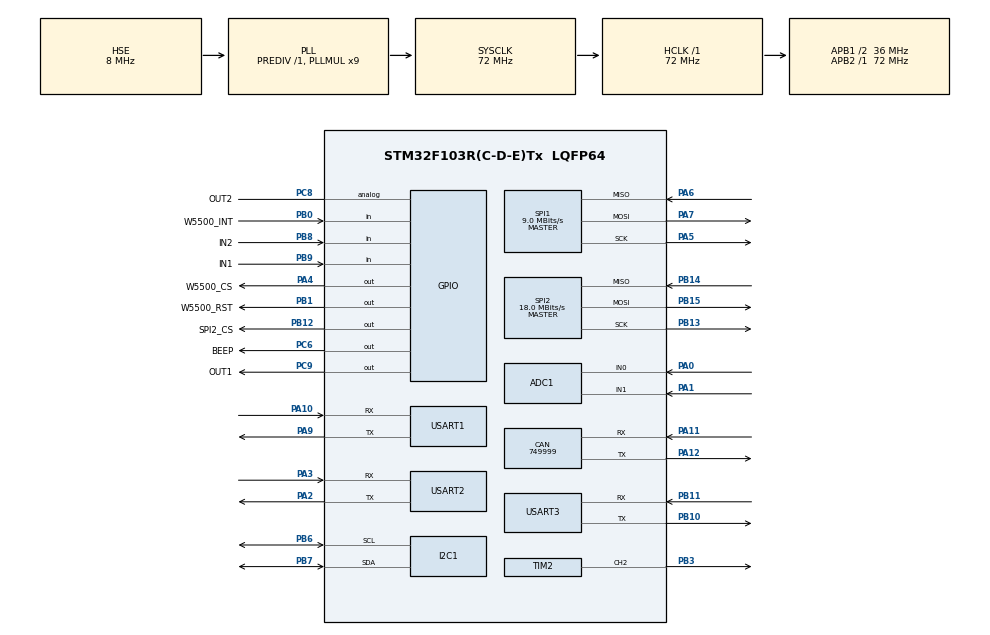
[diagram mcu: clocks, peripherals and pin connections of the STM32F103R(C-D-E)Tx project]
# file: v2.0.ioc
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ADC1.Channel-0\#ChannelRegularConversion=ADC_CHANNEL_0
ADC1.NbrOfConversionFlag=1
ADC1.Rank-0\#ChannelRegularConversion=1
ADC1.SamplingTime-0\#ChannelRegularConversion=ADC_SAMPLETIME_1CYCLE_5
ADC1.master=1
CAN.CalculateBaudRate=749999
CAN.CalculateTimeBit=1333
CAN.CalculateTimeQuantum=444.44444444444446
Dma.Request0=USART1_RX
Dma.Request1=USART2_RX
Dma.Request2=USART3_RX
Dma.USART1_RX.0.Direction=DMA_PERIPH_TO_MEMORY
Dma.USART1_RX.0.Instance=DMA1_Channel5
Dma.USART1_RX.0.MemDataAlignment=DMA_MDATAALIGN_BYTE
Dma.USART1_RX.0.MemInc=DMA_MINC_ENABLE
Dma.USART1_RX.0.Mode=DMA_NORMAL
Dma.USART1_RX.0.PeriphDataAlignment=DMA_PDATAALIGN_BYTE
Dma.USART1_RX.0.PeriphInc=DMA_PINC_DISABLE
Dma.USART1_RX.0.Priority=DMA_PRIORITY_LOW
Dma.USART2_RX.1.Direction=DMA_PERIPH_TO_MEMORY
Dma.USART2_RX.1.Instance=DMA1_Channel6
Dma.USART2_RX.1.MemDataAlignment=DMA_MDATAALIGN_BYTE
Dma.USART2_RX.1.MemInc=DMA_MINC_ENABLE
Dma.USART2_RX.1.Mode=DMA_NORMAL
Dma.USART2_RX.1.PeriphDataAlignment=DMA_PDATAALIGN_BYTE
Dma.USART2_RX.1.PeriphInc=DMA_PINC_DISABLE
Dma.USART2_RX.1.Priority=DMA_PRIORITY_LOW
Dma.USART3_RX.2.Direction=DMA_PERIPH_TO_MEMORY
Dma.USART3_RX.2.Instance=DMA1_Channel3
Dma.USART3_RX.2.MemDataAlignment=DMA_MDATAALIGN_BYTE
Dma.USART3_RX.2.MemInc=DMA_MINC_ENABLE
Dma.USART3_RX.2.Mode=DMA_NORMAL
Dma.USART3_RX.2.PeriphDataAlignment=DMA_PDATAALIGN_BYTE
Dma.USART3_RX.2.PeriphInc=DMA_PINC_DISABLE
Dma.USART3_RX.2.Priority=DMA_PRIORITY_LOW
Mcu.Family=STM32F1
Mcu.Name=STM32F103R(C-D-E)Tx
Mcu.Package=LQFP64
NVIC.DMA1_Channel3_IRQn=true\:0\:0\:false\:false\:true\:false\:true\:true
NVIC.DMA1_Channel5_IRQn=true\:0\:0\:false\:false\:true\:false\:true\:true
NVIC.DMA1_Channel6_IRQn=true\:0\:0\:false\:false\:true\:false\:true\:true
NVIC.PriorityGroup=NVIC_PRIORITYGROUP_4
NVIC.TIM3_IRQn=true\:0\:0\:false\:false\:true\:true\:true\:true
NVIC.USART1_IRQn=true\:0\:0\:false\:false\:true\:true\:true\:true
NVIC.USART2_IRQn=true\:0\:0\:false\:false\:true\:true\:true\:true
NVIC.USART3_IRQn=true\:0\:0\:false\:false\:true\:true\:true\:true
PA0-WKUP.Signal=SharedAnalog_PA0
PA1.Signal=SharedAnalog_PA1
PA10.Mode=Asynchronous
PA10.Signal=USART1_RX
PA11.Mode=CAN_Activate
PA11.Signal=CAN_RX
PA12.Mode=CAN_Activate
PA12.Signal=CAN_TX
PA13.Mode=Serial_Wire
PA13.Signal=SYS_JTMS-SWDIO
PA14.Mode=Serial_Wire
PA14.Signal=SYS_JTCK-SWCLK
PA2.Mode=Asynchronous
PA2.Signal=USART2_TX
PA3.Mode=Asynchronous
PA3.Signal=USART2_RX
PA4.GPIO_Label=W5500_CS
PA4.Signal=GPIO_Output
PA5.Mode=Full_Duplex_Master
PA5.Signal=SPI1_SCK
PA6.Mode=Full_Duplex_Master
PA6.Signal=SPI1_MISO
PA7.Mode=Full_Duplex_Master
PA7.Signal=SPI1_MOSI
PA9.Mode=Asynchronous
PA9.Signal=USART1_TX
PB0.GPIO_Label=W5500_INT
PB0.Signal=GPIO_Input
PB1.GPIO_Label=W5500_RST
PB1.Signal=GPIO_Output
PB10.Mode=Asynchronous
PB10.Signal=USART3_TX
PB11.Mode=Asynchronous
PB11.Signal=USART3_RX
PB12.GPIO_Label=SPI2_CS
PB12.Signal=GPIO_Output
PB13.Mode=Full_Duplex_Master
PB13.Signal=SPI2_SCK
PB14.Mode=Full_Duplex_Master
PB14.Signal=SPI2_MISO
PB15.Mode=Full_Duplex_Master
PB15.Signal=SPI2_MOSI
PB3.Signal=S_TIM2_CH2
PB6.Mode=I2C
PB6.Signal=I2C1_SCL
PB7.Mode=I2C
PB7.Signal=I2C1_SDA
PB8.GPIO_Label=IN2
PB8.Signal=GPIO_Input
PB9.GPIO_Label=IN1
PB9.Signal=GPIO_Input
PC14-OSC32_IN.Mode=LSE-External-Oscillator
PC14-OSC32_IN.Signal=RCC_OSC32_IN
PC15-OSC32_OUT.Mode=LSE-External-Oscillator
PC15-OSC32_OUT.Signal=RCC_OSC32_OUT
PC6.GPIO_Label=BEEP
PC6.Signal=GPIO_Output
PC8.GPIO_Label=OUT2
PC8.Signal=GPIO_Analog
PC9.GPIO_Label=OUT1
PC9.Signal=GPIO_Output
PD0-OSC_IN.Mode=HSE-External-Oscillator
PD0-OSC_IN.Signal=RCC_OSC_IN
PD1-OSC_OUT.Mode=HSE-External-Oscillator
PD1-OSC_OUT.Signal=RCC_OSC_OUT
ProjectManager.HeapSize=0x1000
ProjectManager.StackSize=0x400
ProjectManager.TargetToolchain=MDK-ARM V5.32
RCC.ADCPresc=RCC_ADCPCLK2_DIV6
RCC.AHBFreq_Value=72000000
RCC.APB1CLKDivider=RCC_HCLK_DIV2
RCC.APB1Freq_Value=36000000
RCC.APB1TimFreq_Value=72000000
RCC.APB2Freq_Value=72000000
RCC.APB2TimFreq_Value=72000000
RCC.HCLKFreq_Value=72000000
RCC.PLLMUL=RCC_PLL_MUL9
RCC.PLLSourceVirtual=RCC_PLLSOURCE_HSE
RCC.SYSCLKFreq_VALUE=72000000
RCC.SYSCLKSource=RCC_SYSCLKSOURCE_PLLCLK
RCC.USBFreq_Value=72000000
SH.S_TIM2_CH2.0=TIM2_CH2,PWM Generation2 CH2
SH.SharedAnalog_PA0.0=GPIO_Analog
SH.SharedAnalog_PA0.1=ADC1_IN0,IN0
SH.SharedAnalog_PA1.0=GPIO_Analog
SH.SharedAnalog_PA1.1=ADC1_IN1,IN1
SPI1.BaudRatePrescaler=SPI_BAUDRATEPRESCALER_8
SPI1.CalculateBaudRate=9.0 MBits/s
SPI1.Direction=SPI_DIRECTION_2LINES
SPI1.Mode=SPI_MODE_MASTER
SPI1.VirtualType=VM_MASTER
SPI2.CalculateBaudRate=18.0 MBits/s
SPI2.Direction=SPI_DIRECTION_2LINES
SPI2.Mode=SPI_MODE_MASTER
SPI2.VirtualType=VM_MASTER
TIM2.Channel-PWM\ Generation2\ CH2=TIM_CHANNEL_2
TIM2.Period=100 - 1
TIM2.Prescaler=7200 - 1
TIM3.Period=10000-1
TIM3.Prescaler=7200-1
USART1.VirtualMode=VM_ASYNC
USART2.VirtualMode=VM_ASYNC
USART3.VirtualMode=VM_ASYNC
VP_TIM2_VS_ClockSourceINT.Mode=Internal
VP_TIM3_VS_ClockSourceINT.Mode=Internal
board=custom

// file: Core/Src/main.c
/* USER CODE BEGIN Header */
/**
  ******************************************************************************
  * @file           : main.c
  * @brief          : Main program body
  ******************************************************************************
  * @attention
  *
  * Copyright (c) 2026 STMicroelectronics.
  * All rights reserved.
  *
  * This software is licensed under terms that can be found in the LICENSE file
  * in the root directory of this software component.
  * If no LICENSE file comes with this software, it is provided AS-IS.
  *
  ******************************************************************************
  */
/* USER CODE END Header */
#include "main.h"
#include "adc.h"
#include "can.h"
#include "dma.h"
#include "i2c.h"
#include "spi.h"
#include "tim.h"
#include "usart.h"
#include "gpio.h"

/* USER CODE BEGIN Includes */
#include "digital.h"
#include "stdio.h"

#include "lfs_user.h"
#include "msh.h"
#include "app_w25qxx.h"
#include "app_w5500.h"
#include "temp.h"
#include "STTS22HTR.h"
#include "Filter_manager.h"

#include "app_flashdb.h"
#include "dns.h"
#include "mqtt_interface.h"

/* USER CODE END Includes */

void SystemClock_Config(void);

/* USER CODE BEGIN 0 */
uint8_t u1_rx[256];
uint8_t u3_rx[256];
int fputc(int ch, FILE *f)
{
  HAL_UART_Transmit(&huart1, (uint8_t*)&ch, 1, HAL_MAX_DELAY);
	return ch;
}
uint8_t test = 0;
uint32_t boot = 0;
/* USER CODE END 0 */

int main(void)
{

  /* MCU Configuration--------------------------------------------------------*/

  /* Reset of all peripherals, Initializes the Flash interface and the Systick. */
  HAL_Init();

  /* Configure the system clock */
  SystemClock_Config();

  /* Initialize all configured peripherals */
  MX_GPIO_Init();
  MX_DMA_Init();
  MX_SPI1_Init();
  MX_SPI2_Init();
  MX_USART1_UART_Init();
  MX_USART2_UART_Init();
  MX_USART3_UART_Init();
  MX_CAN_Init();
  MX_TIM2_Init();
  MX_ADC1_Init();
  MX_TIM3_Init();
  MX_I2C1_Init();
  /* USER CODE BEGIN 2 */
	HAL_UARTEx_ReceiveToIdle_DMA(&huart1 , u1_rx , sizeof(u1_rx));
	HAL_UARTEx_ReceiveToIdle_DMA(&huart3 , u3_rx , sizeof(u3_rx));
	HAL_TIM_Base_Start_IT(&htim3);
	HAL_TIM_PWM_Start(&htim2 , TIM_CHANNEL_2);
	HAL_ADC_Start(&hadc1);

	board_temp_init(); // ADC自校准，提升精度

		/* wizchip init */

//	lfs_info_init(1);
//	test_folder_and_file();
	/* read flash dest ip and port*/
//	lfs_user_read(dir_path , dest_ip_path , tcp_client_dest_ip , sizeof(tcp_client_dest_ip));
//	lfs_user_read(dir_path , dest_port_path , (uint8_t *)&tcp_client_dest_port , sizeof(tcp_client_dest_port));
	msh_init();
  wizchip_initialize();
  filter_info_init();

  /* FlashDB initialization */
  app_flashdb_init();
  /* USER CODE END 2 */

  /* Infinite loop */
  /* USER CODE BEGIN WHILE */
  while (1)
  {
    Set_digital(0 , 1);
    Set_digital(1 , 0);
    Set_digital(2 , 1);
    Set_digital(3 , 0);
    msh_process();
    Set_digital_State_refresh();
		network_proc();

		__HAL_TIM_SetCompare(&htim2 , TIM_CHANNEL_2 , 60);
    HAL_Delay(10);
    /* USER CODE END WHILE */

  }
}

void SystemClock_Config(void)
{
  RCC_OscInitTypeDef RCC_OscInitStruct = {0};
  RCC_ClkInitTypeDef RCC_ClkInitStruct = {0};
  RCC_PeriphCLKInitTypeDef PeriphClkInit = {0};

  /** Initializes the RCC Oscillators according to the specified parameters
  * in the RCC_OscInitTypeDef structure.
  */
  RCC_OscInitStruct.OscillatorType = RCC_OSCILLATORTYPE_HSE;
  RCC_OscInitStruct.HSEState = RCC_HSE_ON;
  RCC_OscInitStruct.HSEPredivValue = RCC_HSE_PREDIV_DIV1;
  RCC_OscInitStruct.HSIState = RCC_HSI_ON;
  RCC_OscInitStruct.PLL.PLLState = RCC_PLL_ON;
  RCC_OscInitStruct.PLL.PLLSource = RCC_PLLSOURCE_HSE;
  RCC_OscInitStruct.PLL.PLLMUL = RCC_PLL_MUL9;
  if (HAL_RCC_OscConfig(&RCC_OscInitStruct) != HAL_OK)
  {
    Error_Handler();
  }

  /** Initializes the CPU, AHB and APB buses clocks
  */
  RCC_ClkInitStruct.ClockType = RCC_CLOCKTYPE_HCLK|RCC_CLOCKTYPE_SYSCLK
                              |RCC_CLOCKTYPE_PCLK1|RCC_CLOCKTYPE_PCLK2;
  RCC_ClkInitStruct.SYSCLKSource = RCC_SYSCLKSOURCE_PLLCLK;
  RCC_ClkInitStruct.AHBCLKDivider = RCC_SYSCLK_DIV1;
  RCC_ClkInitStruct.APB1CLKDivider = RCC_HCLK_DIV2;
  RCC_ClkInitStruct.APB2CLKDivider = RCC_HCLK_DIV1;

  if (HAL_RCC_ClockConfig(&RCC_ClkInitStruct, FLASH_LATENCY_2) != HAL_OK)
  {
    Error_Handler();
  }
  PeriphClkInit.PeriphClockSelection = RCC_PERIPHCLK_ADC;
  PeriphClkInit.AdcClockSelection = RCC_ADCPCLK2_DIV6;
  if (HAL_RCCEx_PeriphCLKConfig(&PeriphClkInit) != HAL_OK)
  {
    Error_Handler();
  }
}

/* USER CODE BEGIN 4 */
void HAL_UARTEx_RxEventCallback(UART_HandleTypeDef *huart, uint16_t Size)
{
	if(huart->Instance == USART1){
		msh_rx_data(u1_rx , Size);
	}else if(huart->Instance == USART3){

	}
}

void HAL_TIM_PeriodElapsedCallback(TIM_HandleTypeDef *htim)
{
	if(htim->Instance == TIM3)
	{
		DHCP_time_handler();
		DNS_time_handler();
    MilliTimer_Handler();
		// tcp_1s_callback();

	}
}
/* USER CODE END 4 */

void Error_Handler(void)
{
  __disable_irq();
  while (1)
  {
  }
}
